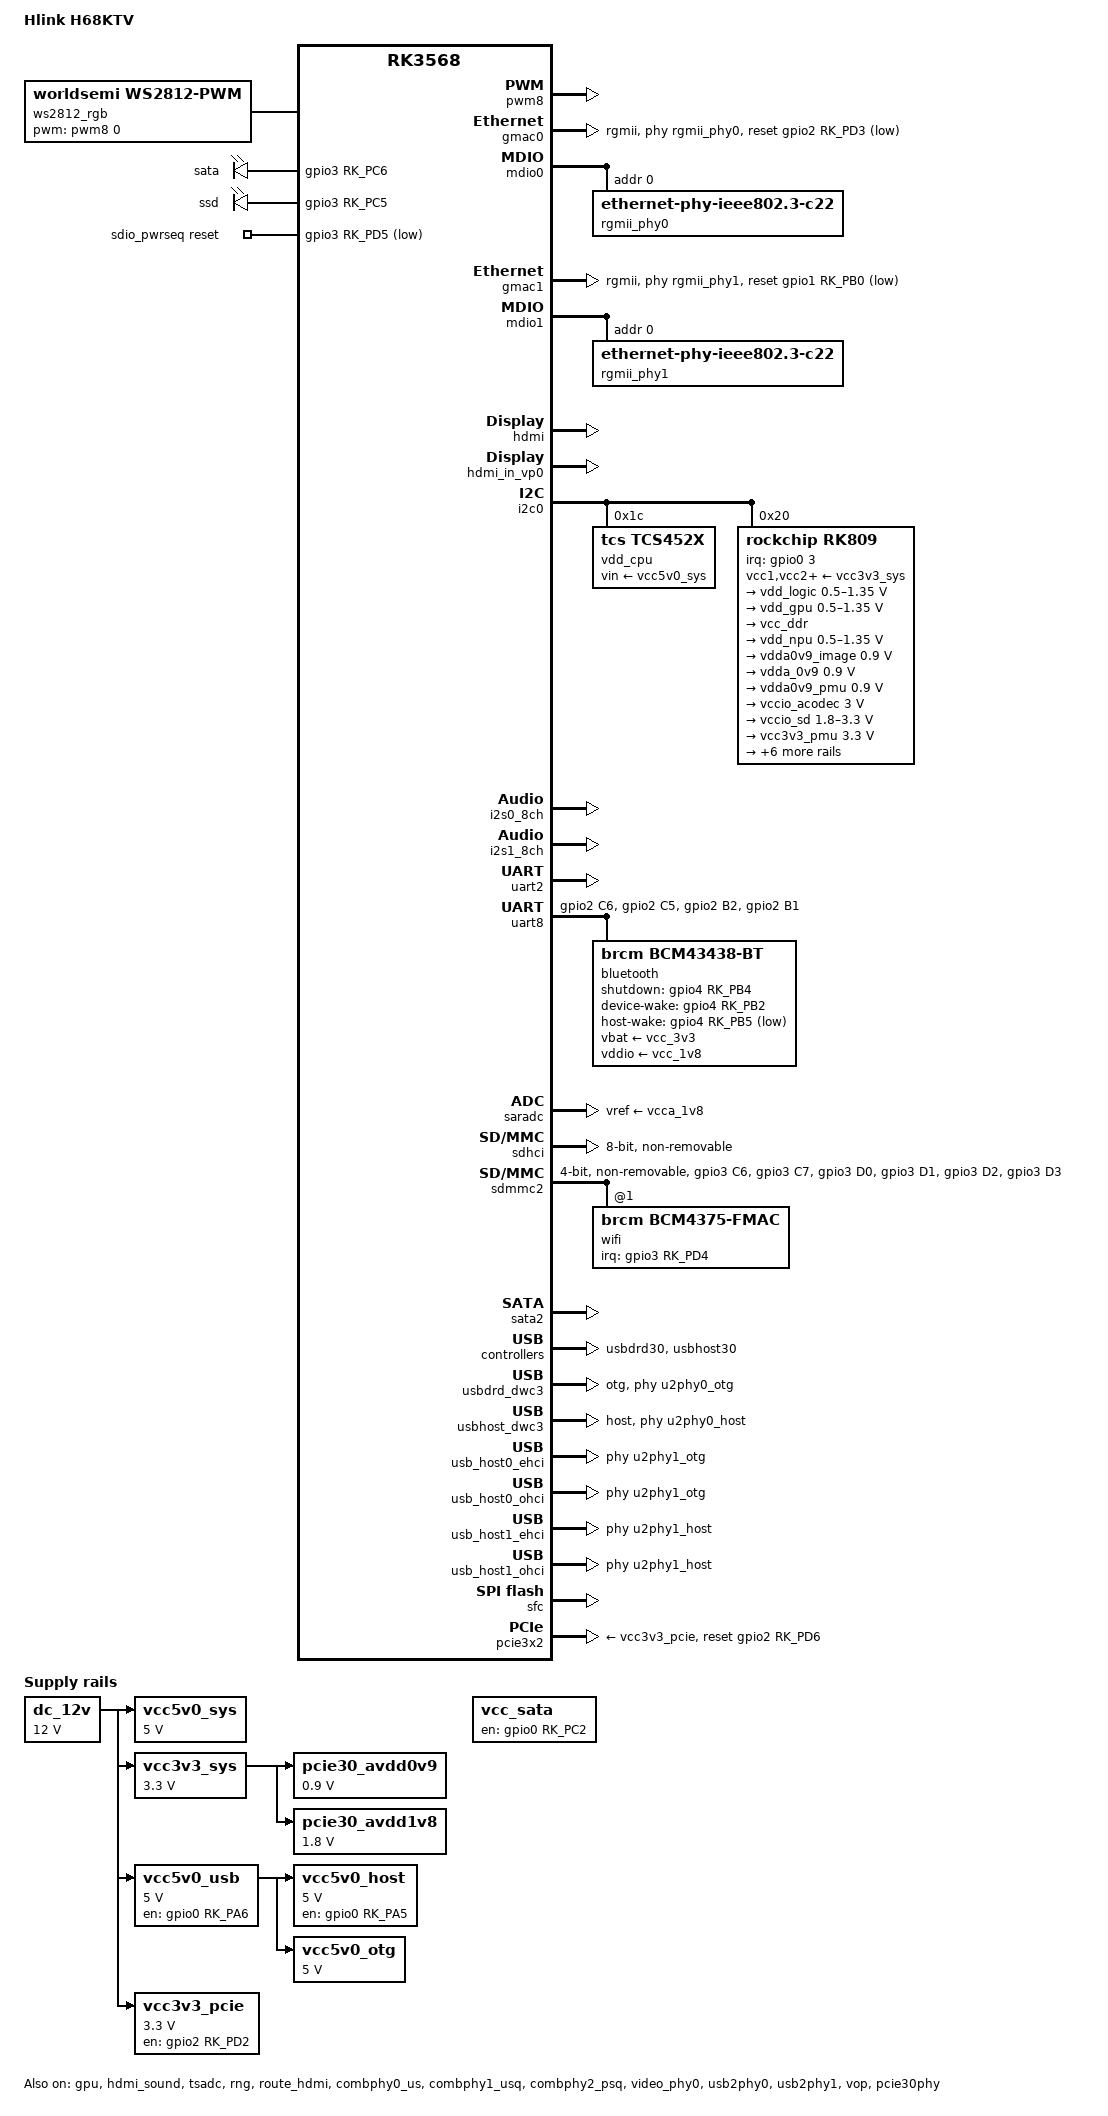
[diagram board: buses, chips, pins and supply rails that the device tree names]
/dts-v1/;
#include <dt-bindings/gpio/gpio.h>
#include <dt-bindings/pinctrl/rockchip.h>
#include <dt-bindings/pwm/pwm.h>
#include "rk3568.dtsi"

/ {
    model = "Hlink H68KTV";
    compatible = "rockchip,rk3568", "hlink,h68ktv";

    aliases {
        ethernet0 = &gmac0;
        ethernet1 = &gmac1;
        mmc0 = &sdhci;
        mmc1 = &sdmmc2;
        led-rgb = &ws2812_rgb;
    };

    /* 引导参数选择 */
    chosen {
        bootargs = "console=ttyS2,1500000n8 earlycon=uart8250,mmio32,0xfe660000";
        stdout-path = "serial2:1500000n8";
    };

    ws2812_rgb: rgb-led {
        compatible = "worldsemi,ws2812-pwm";
        pwms = <&pwm8 0 1250 0>;
        num-leds = <10>;
        color-order = <0>;
        linux,default-trigger = "none";
        status = "okay";
    };

    gpio-leds {
        compatible = "gpio-leds";
        pinctrl-names = "default";
        pinctrl-0 = <&led_sata &led_ssd>;

        led-sata {
            label = "sata";
            gpios = <&gpio3 RK_PC6 GPIO_ACTIVE_HIGH>;
            linux,default-trigger = "disk-activity";
            retain-state-suspended;
        };

        led-ssd {
            label = "ssd";
            gpios = <&gpio3 RK_PC5 GPIO_ACTIVE_HIGH>;
            linux,default-trigger = "disk-activity";
            retain-state-suspended;
        };
    };

    /* 电源/电压调节器定义 */
    dc_12v: dc-12v {
        compatible = "regulator-fixed";
        regulator-name = "dc_12v";
        regulator-always-on;
        regulator-boot-on;
        regulator-min-microvolt = <12000000>;
        regulator-max-microvolt = <12000000>;
    };

    vcc5v0_sys: vcc5v0-sys {
        compatible = "regulator-fixed";
        regulator-name = "vcc5v0_sys";
        regulator-always-on;
        regulator-boot-on;
        regulator-min-microvolt = <5000000>;
        regulator-max-microvolt = <5000000>;
        vin-supply = <&dc_12v>;
    };

    vcc3v3_sys: vcc3v3-sys {
        compatible = "regulator-fixed";
        regulator-name = "vcc3v3_sys";
        regulator-always-on;
        regulator-boot-on;
        regulator-min-microvolt = <3300000>;
        regulator-max-microvolt = <3300000>;
        vin-supply = <&dc_12v>;
    };

    vcc5v0_usb: vcc5v0-usb-regulator {
        compatible = "regulator-fixed";
        regulator-name = "vcc5v0_usb";
        regulator-always-on;
        regulator-boot-on;
        enable-active-high;
        gpio = <&gpio0 RK_PA6 GPIO_ACTIVE_HIGH>;
        pinctrl-names = "default";
        pinctrl-0 = <&vcc5v0_host_en0>;
        regulator-min-microvolt = <5000000>;
        regulator-max-microvolt = <5000000>;
        vin-supply = <&dc_12v>;
    };

    vcc5v0_host: vcc5v0-host-regulator {
        compatible = "regulator-fixed";
        regulator-name = "vcc5v0_host";
        enable-active-high;
        gpio = <&gpio0 RK_PA5 GPIO_ACTIVE_HIGH>;
        pinctrl-names = "default";
        pinctrl-0 = <&vcc5v0_host_en1>;
        regulator-boot-on;
        regulator-always-on;
        regulator-min-microvolt = <5000000>;
        regulator-max-microvolt = <5000000>;
        vin-supply = <&vcc5v0_usb>;
    };

    vcc5v0_otg: vcc5v0-otg-regulator {
        compatible = "regulator-fixed";
        regulator-name = "vcc5v0_otg";
        regulator-min-microvolt = <5000000>;
        regulator-max-microvolt = <5000000>;
        enable-active-high;
        vin-supply = <&vcc5v0_usb>;
    };

    vcc3v3_pcie: vcc3v3-pcie-regulator {
        compatible = "regulator-fixed";
        regulator-name = "vcc3v3_pcie";
        enable-active-high;
        gpio = <&gpio2 RK_PD2 GPIO_ACTIVE_HIGH>;
        startup-delay-us = <5000>;
        regulator-min-microvolt = <3300000>;
        regulator-max-microvolt = <3300000>;
        regulator-always-on;
        regulator-boot-on;
        vin-supply = <&dc_12v>;
    };

    pcie30_avdd0v9: pcie30-avdd0v9 {
        compatible = "regulator-fixed";
        regulator-name = "pcie30_avdd0v9";
        regulator-always-on;
        regulator-boot-on;
        regulator-min-microvolt = <900000>;
        regulator-max-microvolt = <900000>;
        vin-supply = <&vcc3v3_sys>;
    };

    pcie30_avdd1v8: pcie30-avdd1v8 {
        compatible = "regulator-fixed";
        regulator-name = "pcie30_avdd1v8";
        regulator-always-on;
        regulator-boot-on;
        regulator-min-microvolt = <1800000>;
        regulator-max-microvolt = <1800000>;
        vin-supply = <&vcc3v3_sys>;
    };

    vcc_sata: sata-pwr-regulator {
        compatible = "regulator-fixed";
        regulator-name = "vcc_sata";
        enable-active-high;
        gpio = <&gpio0 RK_PC2 GPIO_ACTIVE_HIGH>;
        pinctrl-names = "default";
        pinctrl-0 = <&sata_pwr>;
        regulator-always-on;
        regulator-boot-on;
    };

    sdio_pwrseq: sdio_pwrseq {
        compatible = "mmc-pwrseq-simple";
        clocks = <&rk809 1>;
        clock-names = "ext_clock";
        pinctrl-names = "default";
        pinctrl-0 = <&wifi_enable_h>;
        reset-gpios = <&gpio3 RK_PD5 GPIO_ACTIVE_LOW>;
        post-power-on-delay-ms = <200>;
    };
};

&cpu0 {
    cpu-supply = <&vdd_cpu>;
};
&cpu1 {
    cpu-supply = <&vdd_cpu>;
};
&cpu2 {
    cpu-supply = <&vdd_cpu>;
};
&cpu3 {
    cpu-supply = <&vdd_cpu>;
};

&gpu {
    mali-supply = <&vdd_gpu>;
    status = "okay";
};

&pwm8 {
    status = "okay";
};

/* GMAC以太网控制器 */
&gmac0 {
    phy-mode = "rgmii";
    clock_in_out = "output";

    snps,reset-gpio = <&gpio2 RK_PD3 GPIO_ACTIVE_LOW>;
    snps,reset-active-low;
    /* Reset time is 20ms, 100ms for rtl8211f */
    snps,reset-delays-us = <0 20000 100000>;

    assigned-clocks = <&cru SCLK_GMAC0_RX_TX>, <&cru SCLK_GMAC0>;
    assigned-clock-parents = <&cru SCLK_GMAC0_RGMII_SPEED>, <&cru CLK_MAC0_2TOP>;
    assigned-clock-rates = <0>, <125000000>;

    pinctrl-names = "default";
    pinctrl-0 = <&gmac0_miim
             &gmac0_tx_bus2
             &gmac0_rx_bus2
             &gmac0_rgmii_clk
             &gmac0_rgmii_bus>;

    tx_delay = <0x4f>;
    rx_delay = <0x26>;

    phy-handle = <&rgmii_phy0>;
    status = "okay";
};

&mdio0 {
    rgmii_phy0: phy@0 {
        compatible = "ethernet-phy-ieee802.3-c22";
        reg = <0x0>;
    };
};

&gmac1 {
    phy-mode = "rgmii";
    clock_in_out = "output";

    snps,reset-gpio = <&gpio1 RK_PB0 GPIO_ACTIVE_LOW>;
    snps,reset-active-low;
    /* Reset time is 20ms, 100ms for rtl8211f */
    snps,reset-delays-us = <0 20000 100000>;

    assigned-clocks = <&cru SCLK_GMAC1_RX_TX>, <&cru SCLK_GMAC1>;
    assigned-clock-parents = <&cru SCLK_GMAC1_RGMII_SPEED>, <&cru CLK_MAC1_2TOP>;
    assigned-clock-rates = <0>, <125000000>;

    pinctrl-names = "default";
    pinctrl-0 = <&gmac1m1_miim
             &gmac1m1_tx_bus2
             &gmac1m1_rx_bus2
             &gmac1m1_rgmii_clk
             &gmac1m1_rgmii_bus>;

    tx_delay = <0x3c>;
    rx_delay = <0x2f>;

    phy-handle = <&rgmii_phy1>;
    status = "okay";
};

&mdio1 {
    rgmii_phy1: phy@0 {
        compatible = "ethernet-phy-ieee802.3-c22";
        reg = <0x0>;
    };
};

/* HDMI接口配置 */
&hdmi {
    status = "okay";
    rockchip,phy-table =
        <92812500  0x8009 0x0000 0x0270>,
        <165000000 0x800b 0x0000 0x026d>,
        <185625000 0x800b 0x0000 0x01ed>,
        <297000000 0x800b 0x0000 0x01ad>,
        <594000000 0x8029 0x0000 0x0088>,
        <000000000 0x0000 0x0000 0x0000>;
};

&hdmi_in_vp0 {
    status = "okay";
};

/* HDMI音频 */
&hdmi_sound {
    status = "okay";
    compatible = "simple-audio-card";
    simple-audio-card,format = "i2s";
    simple-audio-card,mclk-fs = <128>;
    simple-audio-card,name = "rockchip,hdmi";
    simple-audio-card,cpu {
        sound-dai = <&i2s0_8ch>;
    };
    simple-audio-card,codec {
        sound-dai = <&hdmi>;
    };
};

/* I2C0总线配置 */
&i2c0 {
    status = "okay";

    vdd_cpu: tcs4525@1c {
        compatible = "tcs,tcs452x";
        reg = <0x1c>;
        vin-supply = <&vcc5v0_sys>;
        regulator-compatible = "fan53555-reg";
        regulator-name = "vdd_cpu";
        regulator-min-microvolt = <712500>;
        regulator-max-microvolt = <1390000>;
        regulator-init-microvolt = <900000>;
        regulator-initial-mode = <1>;
        regulator-ramp-delay = <2300>;
        fcs,suspend-voltage-selector = <1>;
        regulator-boot-on;
        regulator-always-on;
        regulator-state-mem {
            regulator-off-in-suspend;
        };
    };

    rk809: pmic@20 {
        compatible = "rockchip,rk809";
        reg = <0x20>;
        interrupt-parent = <&gpio0>;
        interrupts = <3 IRQ_TYPE_LEVEL_LOW>;
        pinctrl-names = "default", "pmic-sleep", "pmic-power-off", "pmic-reset";
        pinctrl-0 = <&pmic_int>;
        pinctrl-1 = <&soc_slppin_slp>, <&rk817_slppin_slp>;
        pinctrl-2 = <&soc_slppin_gpio>, <&rk817_slppin_pwrdn>;
        pinctrl-3 = <&soc_slppin_gpio>, <&rk817_slppin_rst>;
        rockchip,system-power-controller;
        wakeup-source;
        #clock-cells = <1>;
        clock-output-names = "rk808-clkout1", "rk808-clkout2";
        pmic-reset-func = <0>;
        not-save-power-en = <1>;
        vcc1-supply = <&vcc3v3_sys>;
        vcc2-supply = <&vcc3v3_sys>;
        vcc3-supply = <&vcc3v3_sys>;
        vcc4-supply = <&vcc3v3_sys>;
        vcc5-supply = <&vcc3v3_sys>;
        vcc6-supply = <&vcc3v3_sys>;
        vcc7-supply = <&vcc3v3_sys>;
        vcc8-supply = <&vcc3v3_sys>;
        vcc9-supply = <&vcc3v3_sys>;

        pwrkey {
            status = "okay";
        };

        pinctrl_rk8xx {
            gpio-controller;
            #gpio-cells = <2>;

            rk817_slppin_null: rk817_slppin_null {
                pins = "gpio_slp";
                function = "pin_fun0";
            };

            rk817_slppin_slp: rk817_slppin_slp {
                pins = "gpio_slp";
                function = "pin_fun1";
            };

            rk817_slppin_pwrdn: rk817_slppin_pwrdn {
                pins = "gpio_slp";
                function = "pin_fun2";
            };

            rk817_slppin_rst: rk817_slppin_rst {
                pins = "gpio_slp";
                function = "pin_fun3";
            };
        };

        regulators {
            vdd_logic: DCDC_REG1 {
                regulator-always-on;
                regulator-boot-on;
                regulator-min-microvolt = <500000>;
                regulator-max-microvolt = <1350000>;
                regulator-init-microvolt = <900000>;
                regulator-ramp-delay = <6001>;
                regulator-initial-mode = <0x2>;
                regulator-name = "vdd_logic";
                regulator-state-mem {
                    regulator-off-in-suspend;
                };
            };

            vdd_gpu: DCDC_REG2 {
                regulator-always-on;
                regulator-boot-on;
                regulator-min-microvolt = <500000>;
                regulator-max-microvolt = <1350000>;
                regulator-init-microvolt = <900000>;
                regulator-ramp-delay = <6001>;
                regulator-initial-mode = <0x2>;
                regulator-name = "vdd_gpu";
                regulator-state-mem {
                    regulator-off-in-suspend;
                };
            };

            vcc_ddr: DCDC_REG3 {
                regulator-always-on;
                regulator-boot-on;
                regulator-initial-mode = <0x2>;
                regulator-name = "vcc_ddr";
                regulator-state-mem {
                    regulator-on-in-suspend;
                };
            };

            vdd_npu: DCDC_REG4 {
                regulator-always-on;
                regulator-boot-on;
                regulator-min-microvolt = <500000>;
                regulator-max-microvolt = <1350000>;
                regulator-init-microvolt = <900000>;
                regulator-ramp-delay = <6001>;
                regulator-initial-mode = <0x2>;
                regulator-name = "vdd_npu";
                regulator-state-mem {
                    regulator-off-in-suspend;
                };
            };

            vdda0v9_image: LDO_REG1 {
                regulator-boot-on;
                regulator-always-on;
                regulator-min-microvolt = <900000>;
                regulator-max-microvolt = <900000>;
                regulator-name = "vdda0v9_image";
                regulator-state-mem {
                    regulator-off-in-suspend;
                };
            };

            vdda_0v9: LDO_REG2 {
                regulator-always-on;
                regulator-boot-on;
                regulator-min-microvolt = <900000>;
                regulator-max-microvolt = <900000>;
                regulator-name = "vdda_0v9";
                regulator-state-mem {
                    regulator-off-in-suspend;
                };
            };

            vdda0v9_pmu: LDO_REG3 {
                regulator-always-on;
                regulator-boot-on;
                regulator-min-microvolt = <900000>;
                regulator-max-microvolt = <900000>;
                regulator-name = "vdda0v9_pmu";
                regulator-state-mem {
                    regulator-on-in-suspend;
                    regulator-suspend-microvolt = <900000>;
                };
            };

            vccio_acodec: LDO_REG4 {
                regulator-always-on;
                regulator-boot-on;
                regulator-min-microvolt = <3000000>;
                regulator-max-microvolt = <3000000>;
                regulator-name = "vccio_acodec";
                regulator-state-mem {
                    regulator-off-in-suspend;
                };
            };

            vccio_sd: LDO_REG5 {
                regulator-always-on;
                regulator-boot-on;
                regulator-min-microvolt = <1800000>;
                regulator-max-microvolt = <3300000>;
                regulator-name = "vccio_sd";
                regulator-state-mem {
                    regulator-off-in-suspend;
                };
            };

            vcc3v3_pmu: LDO_REG6 {
                regulator-always-on;
                regulator-boot-on;
                regulator-min-microvolt = <3300000>;
                regulator-max-microvolt = <3300000>;
                regulator-name = "vcc3v3_pmu";
                regulator-state-mem {
                    regulator-on-in-suspend;
                    regulator-suspend-microvolt = <3300000>;
                };
            };

            vcca_1v8: LDO_REG7 {
                regulator-always-on;
                regulator-boot-on;
                regulator-min-microvolt = <1800000>;
                regulator-max-microvolt = <1800000>;
                regulator-name = "vcca_1v8";
                regulator-state-mem {
                    regulator-off-in-suspend;
                };
            };

            vcca1v8_pmu: LDO_REG8 {
                regulator-always-on;
                regulator-boot-on;
                regulator-min-microvolt = <1800000>;
                regulator-max-microvolt = <1800000>;
                regulator-name = "vcca1v8_pmu";
                regulator-state-mem {
                    regulator-on-in-suspend;
                    regulator-suspend-microvolt = <1800000>;
                };
            };

            vcca1v8_image: LDO_REG9 {
                regulator-always-on;
                regulator-boot-on;
                regulator-min-microvolt = <1800000>;
                regulator-max-microvolt = <1800000>;
                regulator-name = "vcca1v8_image";
                regulator-state-mem {
                    regulator-off-in-suspend;
                };
            };

            vcc_1v8: DCDC_REG5 {
                regulator-always-on;
                regulator-boot-on;
                regulator-min-microvolt = <1800000>;
                regulator-max-microvolt = <1800000>;
                regulator-name = "vcc_1v8";
                regulator-state-mem {
                    regulator-off-in-suspend;
                };
            };

            vcc_3v3: SWITCH_REG1 {
                regulator-always-on;
                regulator-boot-on;
                regulator-name = "vcc_3v3";
                regulator-state-mem {
                    regulator-off-in-suspend;
                };
            };

            vcc3v3_sd: SWITCH_REG2 {
                regulator-always-on;
                regulator-boot-on;
                regulator-name = "vcc3v3_sd";
                regulator-state-mem {
                    regulator-off-in-suspend;
                };
            };
        };

        rk809_codec: codec {
            #sound-dai-cells = <0>;
            compatible = "rockchip,rk809-codec", "rockchip,rk817-codec";
            clocks = <&cru I2S1_MCLKOUT>;
            clock-names = "mclk";
            assigned-clocks = <&cru I2S1_MCLKOUT>, <&cru I2S1_MCLK_TX_IOE>;
            assigned-clock-rates = <12288000>;
            assigned-clock-parents = <&cru I2S1_MCLKOUT_TX>, <&cru I2S1_MCLKOUT_TX>;
            pinctrl-names = "default";
            pinctrl-0 = <&i2s1m0_mclk>;
            hp-volume = <20>;
            spk-volume = <3>;
            mic-in-differential;
            status = "okay";
        };
    };
};

&i2s0_8ch {
    status = "okay";
};

&i2s1_8ch {
    status = "okay";
    pinctrl-names = "default";
    pinctrl-0 = <&i2s1m0_sclktx &i2s1m0_lrcktx &i2s1m0_sdi0 &i2s1m0_sdo0>;
};

/* 串口2 */
&uart2 {
    pinctrl-names = "default";
    pinctrl-0 = <&uart2m0_xfer>;
    status = "okay";
};

/* UART8串口（带蓝牙）*/
&uart8 {
    status = "okay";
    pinctrl-names = "default";
    pinctrl-0 = <&uart8m0_xfer &uart8m0_ctsn &uart8m0_rtsn>;
    uart-has-rtscts;

    bluetooth {
        compatible = "brcm,bcm43438-bt";
        clocks = <&rk809 1>;
        clock-names = "lpo";
        vbat-supply = <&vcc_3v3>;
        vddio-supply = <&vcc_1v8>;
        shutdown-gpios = <&gpio4 RK_PB4 GPIO_ACTIVE_HIGH>;
        reset-delay-ms = <200>;
        device-wake-gpios = <&gpio4 RK_PB2 GPIO_ACTIVE_HIGH>;
        host-wake-gpios = <&gpio4 RK_PB5 GPIO_ACTIVE_LOW>;
        max-speed = <3000000>;
        firmware-postfix = "4362A2";
    };
};

/* 温度传感器模数转换器 */
&tsadc {
    status = "okay";
};

/* 逐次逼近型模数转换器 */
&saradc {
    vref-supply = <&vcca_1v8>;
    status = "okay";
};

/* 硬件随机数生成器 */
&rng {
    status = "okay";
};

&rockchip_suspend {
    status = "okay";
};

&route_hdmi {
    status = "okay";
    connect = <&vp0_out_hdmi>;
};

/* USB 3.0组合物理层接口0 */
&combphy0_us {
    status = "okay";
};

/* USB 3.0组合物理层接口1 */
&combphy1_usq {
    status = "okay";
};

/* PCIe/SATA组合物理层接口2 */
&combphy2_psq {
    status = "okay";
};

/* 视频物理层接口0 */
&video_phy0 {
    status = "okay";
};

/* eMMC控制器 */
&sdhci {
    bus-width = <8>;
    max-frequency = <200000000>;
    non-removable;
    status = "okay";
};

/* SDIO控制器 */
&sdmmc2 {
    status = "okay";
    max-frequency = <25000000>;
    supports-sdio;
    bus-width = <4>;
    disable-wp;
    cap-sd-highspeed;
    cap-sdio-irq;
    keep-power-in-suspend;
    non-removable;
    sd-uhs-sdr104;
    mmc-pwrseq = <&sdio_pwrseq>;
    pinctrl-names = "default";
    pinctrl-0 = <&sdmmc2_bus4 &sdmmc2_cmd &sdmmc2_clk>;
    #address-cells = <1>;
    #size-cells = <0>;

    wifi: wifi@1 {
        reg = <1>;
        compatible = "brcm,bcm4375-fmac";
        interrupt-parent = <&gpio3>;
        interrupts = <RK_PD4 IRQ_TYPE_LEVEL_HIGH>;
        interrupt-names = "host-wake";
        pinctrl-names = "default";
        pinctrl-0 = <&wifi_host_wake_irq>;
        rockchip,grf = <&grf>;
        firmware-postfix = "4375";
    };
};

/* 引脚控制器配置 */
&pinctrl {
    /* PMIC引脚配置 */
    pmic {
        pmic_int: pmic-int {
            rockchip,pins = <0 RK_PA3 RK_FUNC_GPIO &pcfg_pull_up>;
        };

        soc_slppin_gpio: soc_slppin_gpio {
            rockchip,pins = <0 RK_PA2 RK_FUNC_GPIO &pcfg_output_low_pull_down>;
        };

        soc_slppin_slp: soc_slppin_slp {
            rockchip,pins = <0 RK_PA2 1 &pcfg_pull_up>;
        };

        soc_slppin_rst: soc_slppin_rst {
            rockchip,pins = <0 RK_PA2 2 &pcfg_pull_none>;
        };
    };

    tsadc {

        tsadc_shutorg: tsadc-shutorg {
            rockchip,pins = <0 RK_PA1 2 &pcfg_pull_none>;
        };
    };

    gpio-func {
    
        tsadc_gpio_func: tsadc-gpio-func {
            rockchip,pins = <0 RK_PA1 0 &pcfg_pull_none>;
        };
    };

    pwm8 {
        pwm8m0_pins: pwm8m0-pins {
            rockchip,pins = <3 RK_PB1 5 &pcfg_pull_none>;
        };
    };

    leds {
        led_sata: led-sata-pin {
            rockchip,pins = <3 RK_PC6 RK_FUNC_GPIO &pcfg_pull_none>;
        };

        led_ssd: led-ssd-pin {
            rockchip,pins = <3 RK_PC5 RK_FUNC_GPIO &pcfg_pull_none>;
        };
    };

    hdmitx {
        hdmitxm0-cec {
            rockchip,pins = <4 RK_PD1 1 &pcfg_pull_none>;
        };
        hdmitx-scl {
            rockchip,pins = <4 RK_PC7 1 &pcfg_pull_none>;
        };
        hdmitx-sda {
            rockchip,pins = <4 RK_PD0 1 &pcfg_pull_none>;
        };
    };

    /* SATA电源引脚配置 */
    sata {
        sata_pwr: sata-pwr {
            rockchip,pins = <0 RK_PC2 RK_FUNC_GPIO &pcfg_pull_none>;
        };
    };

    /* USB电源引脚配置 */
    usb {
        vcc5v0_host_en0: vcc5v0-host-en0 {
            rockchip,pins = <0 RK_PA6 RK_FUNC_GPIO &pcfg_pull_none>;
        };

        vcc5v0_host_en1: vcc5v0-host-en1 {
            rockchip,pins = <0 RK_PA5 RK_FUNC_GPIO &pcfg_pull_none>;
        };
    };

    /* wifi引脚配置 */
    wifi_host_wake_irq: wifi-host-wake-irq {
            rockchip,pins = <3 RK_PD4 RK_FUNC_GPIO &pcfg_pull_down>;
    };

    sdmmc2 {
        sdmmc2_bus4: sdmmc2-bus4-pins {
            rockchip,pins =
                <3 RK_PC6 3 &pcfg_pull_up_drv_level_2>,
                <3 RK_PC7 3 &pcfg_pull_up_drv_level_2>,
                <3 RK_PD0 3 &pcfg_pull_up_drv_level_2>,
                <3 RK_PD1 3 &pcfg_pull_up_drv_level_2>;
        };

        sdmmc2_cmd: sdmmc2-cmd-pins {
            rockchip,pins = <3 RK_PD2 3 &pcfg_pull_up_drv_level_2>;
        };

        sdmmc2_clk: sdmmc2-clk-pins {
            rockchip,pins = <3 RK_PD3 3 &pcfg_pull_up_drv_level_2>;
        };
    };

    uart8 {
        uart8m0_xfer: uart8m0-xfer {
            rockchip,pins =
                <2 RK_PC6 2 &pcfg_pull_up>,
                <2 RK_PC5 3 &pcfg_pull_up>;
        };
        uart8m0_ctsn: uart8m0-ctsn {
            rockchip,pins = <2 RK_PB2 3 &pcfg_pull_none>;
        };
        uart8m0_rtsn: uart8m0-rtsn {
            rockchip,pins = <2 RK_PB1 3 &pcfg_pull_none>;
        };
    };

    /* wifi电源引脚配置 */
    sdio-pwrseq {
        wifi_enable_h: wifi-enable-h {
            rockchip,pins = <3 RK_PD5 RK_FUNC_GPIO &pcfg_pull_none>;
        };
    };
};

/* PMU（电源管理单元）IO域配置 */
&pmu_io_domains {
    pmuio2-supply = <&vcc3v3_pmu>;
    vccio1-supply = <&vccio_acodec>;
    vccio3-supply = <&vccio_sd>;
    vccio4-supply = <&vcc_1v8>;
    vccio5-supply = <&vcc_3v3>;
    vccio6-supply = <&vcc_1v8>;
    vccio7-supply = <&vcc_3v3>;
    status = "okay";
};

&reserved_memory {
    ramoops: ramoops@110000 {
        compatible = "ramoops";
        reg = <0x0 0x110000 0x0 0xf0000>;
        record-size = <0x20000>;
        console-size = <0x80000>;
        ftrace-size = <0x00000>;
        pmsg-size = <0x50000>;
    };

    rknpu_reserved: rknpu {
        compatible = "shared-dma-pool";
        inactive;
        reusable;
        size = <0x0 0x20000000>;
        alignment = <0x0 0x1000>;
    };
};

/* SATA2接口 */
&sata2 {
    status = "okay";
};

/* USB2 PHY0 */
&usb2phy0 {
    status = "okay";
    u2phy0_host: host-port {
        phy-supply = <&vcc5v0_host>;
        status = "okay";
    };
    u2phy0_otg: otg-port {
        vbus-supply = <&vcc5v0_otg>;
        status = "okay";
    };
};

/* USB2 PHY1 */
&usb2phy1 {
    status = "okay";
    u2phy1_host: host-port {
        phy-supply = <&vcc5v0_host>;
        status = "okay";
    };
    u2phy1_otg: otg-port {
        phy-supply = <&vcc5v0_host>;
        status = "okay";
    };
};

/* USB3.0 （OTG）控制器*/
&usbdrd30 {
    status = "okay";
};

/* USB3.0 （OTG）控制器的DWC3核心 */
&usbdrd_dwc3 {
    dr_mode = "otg";
    extcon = <&usb2phy0>;
    phys = <&u2phy0_otg>, <&combphy0_us 4>;
    phy-names = "usb2-phy", "usb3-phy";
    maximum-speed = "super-speed";
    status = "okay";
};

/* USB3.0主机控制器 */
&usbhost30 {
    status = "okay";
};

/* USB3.0主机控制器的DWC3核心 */
&usbhost_dwc3 {
    dr_mode = "host";
    phys = <&u2phy0_host>, <&combphy1_usq 4>;
    phy-names = "usb2-phy", "usb3-phy";
    maximum-speed = "super-speed";
    status = "okay";
};

&usb_host0_ehci {
    phys = <&u2phy1_otg>;
    phy-names = "usb2-phy";
    status = "okay";
};
&usb_host0_ohci {
    phys = <&u2phy1_otg>;
    phy-names = "usb2-phy";
    status = "okay";
};

&usb_host1_ehci {
    phys = <&u2phy1_host>;
    phy-names = "usb2-phy";
    status = "okay";
};
&usb_host1_ohci {
    phys = <&u2phy1_host>;
    phy-names = "usb2-phy";
    status = "okay";
};

/* VOP（视频输出处理器） */
&vop {
    status = "okay";
    assigned-clocks = <&cru DCLK_VOP0>, <&cru DCLK_VOP1>;
    assigned-clock-parents = <&pmucru PLL_HPLL>, <&cru PLL_VPLL>;
    support-multi-area;
    disable-win-move;
};

/* VOP内存管理单元 */
&vop_mmu {
    status = "okay";
};

/* SPI NOR闪存控制器 */
&sfc {
    status = "okay";
};

/* PCIe 3.0物理层接口 */
&pcie30phy {
    compatible = "rockchip,rk3568-pcie-phy";
    status = "okay";
};

/* PCIe 3.0 x2控制器 */
&pcie3x2 {
    rockchip,init-delay-ms = <100>;
    reset-gpios = <&gpio2 RK_PD6 GPIO_ACTIVE_HIGH>;
    vpcie3v3-supply = <&vcc3v3_pcie>;
    status = "okay";
};
